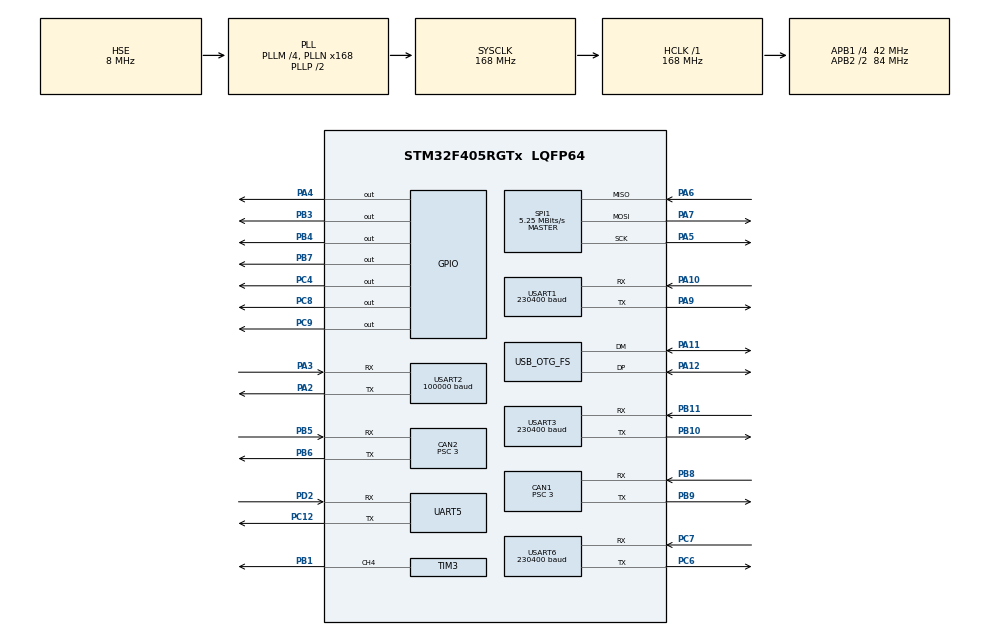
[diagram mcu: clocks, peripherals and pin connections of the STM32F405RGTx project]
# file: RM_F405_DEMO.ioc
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CAN1.AWUM=ENABLE
CAN1.BS1=CAN_BS1_9TQ
CAN1.BS2=CAN_BS2_4TQ
CAN1.CalculateBaudRate=1000000
CAN1.CalculateTimeBit=1000
CAN1.CalculateTimeQuantum=71.42857142857143
CAN1.NART=ENABLE
CAN1.Prescaler=3
CAN1.TTCM=DISABLE
CAN1.TXFP=ENABLE
CAN2.AWUM=ENABLE
CAN2.BS1=CAN_BS1_9TQ
CAN2.BS2=CAN_BS2_4TQ
CAN2.CalculateBaudRate=1000000
CAN2.CalculateTimeBit=1000
CAN2.CalculateTimeQuantum=71.42857142857143
CAN2.NART=ENABLE
CAN2.Prescaler=3
CAN2.TTCM=DISABLE
CAN2.TXFP=ENABLE
Dma.Request0=UART5_RX
Dma.Request1=UART5_TX
Dma.Request2=USART2_RX
Dma.Request3=USART6_RX
Dma.Request4=USART6_TX
Dma.Request5=USART1_RX
Dma.Request6=USART1_TX
Dma.UART5_RX.0.Direction=DMA_PERIPH_TO_MEMORY
Dma.UART5_RX.0.FIFOMode=DMA_FIFOMODE_DISABLE
Dma.UART5_RX.0.Instance=DMA1_Stream0
Dma.UART5_RX.0.MemDataAlignment=DMA_MDATAALIGN_BYTE
Dma.UART5_RX.0.MemInc=DMA_MINC_ENABLE
Dma.UART5_RX.0.Mode=DMA_NORMAL
Dma.UART5_RX.0.PeriphDataAlignment=DMA_PDATAALIGN_BYTE
Dma.UART5_RX.0.PeriphInc=DMA_PINC_DISABLE
Dma.UART5_RX.0.Priority=DMA_PRIORITY_HIGH
Dma.UART5_TX.1.Direction=DMA_MEMORY_TO_PERIPH
Dma.UART5_TX.1.FIFOMode=DMA_FIFOMODE_DISABLE
Dma.UART5_TX.1.Instance=DMA1_Stream7
Dma.UART5_TX.1.MemDataAlignment=DMA_MDATAALIGN_BYTE
Dma.UART5_TX.1.MemInc=DMA_MINC_ENABLE
Dma.UART5_TX.1.Mode=DMA_NORMAL
Dma.UART5_TX.1.PeriphDataAlignment=DMA_PDATAALIGN_BYTE
Dma.UART5_TX.1.PeriphInc=DMA_PINC_DISABLE
Dma.UART5_TX.1.Priority=DMA_PRIORITY_HIGH
Dma.USART1_RX.5.Direction=DMA_PERIPH_TO_MEMORY
Dma.USART1_RX.5.FIFOMode=DMA_FIFOMODE_DISABLE
Dma.USART1_RX.5.Instance=DMA2_Stream2
Dma.USART1_RX.5.MemDataAlignment=DMA_MDATAALIGN_BYTE
Dma.USART1_RX.5.MemInc=DMA_MINC_ENABLE
Dma.USART1_RX.5.Mode=DMA_NORMAL
Dma.USART1_RX.5.PeriphDataAlignment=DMA_PDATAALIGN_BYTE
Dma.USART1_RX.5.PeriphInc=DMA_PINC_DISABLE
Dma.USART1_RX.5.Priority=DMA_PRIORITY_HIGH
Dma.USART1_TX.6.Direction=DMA_MEMORY_TO_PERIPH
Dma.USART1_TX.6.FIFOMode=DMA_FIFOMODE_DISABLE
Dma.USART1_TX.6.Instance=DMA2_Stream7
Dma.USART1_TX.6.MemDataAlignment=DMA_MDATAALIGN_BYTE
Dma.USART1_TX.6.MemInc=DMA_MINC_ENABLE
Dma.USART1_TX.6.Mode=DMA_NORMAL
Dma.USART1_TX.6.PeriphDataAlignment=DMA_PDATAALIGN_BYTE
Dma.USART1_TX.6.PeriphInc=DMA_PINC_DISABLE
Dma.USART1_TX.6.Priority=DMA_PRIORITY_HIGH
Dma.USART2_RX.2.Direction=DMA_PERIPH_TO_MEMORY
Dma.USART2_RX.2.FIFOMode=DMA_FIFOMODE_DISABLE
Dma.USART2_RX.2.Instance=DMA1_Stream5
Dma.USART2_RX.2.MemDataAlignment=DMA_MDATAALIGN_BYTE
Dma.USART2_RX.2.MemInc=DMA_MINC_ENABLE
Dma.USART2_RX.2.Mode=DMA_NORMAL
Dma.USART2_RX.2.PeriphDataAlignment=DMA_PDATAALIGN_BYTE
Dma.USART2_RX.2.PeriphInc=DMA_PINC_DISABLE
Dma.USART2_RX.2.Priority=DMA_PRIORITY_HIGH
Dma.USART6_RX.3.Direction=DMA_PERIPH_TO_MEMORY
Dma.USART6_RX.3.FIFOMode=DMA_FIFOMODE_DISABLE
Dma.USART6_RX.3.Instance=DMA2_Stream1
Dma.USART6_RX.3.MemDataAlignment=DMA_MDATAALIGN_BYTE
Dma.USART6_RX.3.MemInc=DMA_MINC_ENABLE
Dma.USART6_RX.3.Mode=DMA_NORMAL
Dma.USART6_RX.3.PeriphDataAlignment=DMA_PDATAALIGN_BYTE
Dma.USART6_RX.3.PeriphInc=DMA_PINC_DISABLE
Dma.USART6_RX.3.Priority=DMA_PRIORITY_LOW
Dma.USART6_TX.4.Direction=DMA_MEMORY_TO_PERIPH
Dma.USART6_TX.4.FIFOMode=DMA_FIFOMODE_DISABLE
Dma.USART6_TX.4.Instance=DMA2_Stream6
Dma.USART6_TX.4.MemDataAlignment=DMA_MDATAALIGN_BYTE
Dma.USART6_TX.4.MemInc=DMA_MINC_ENABLE
Dma.USART6_TX.4.Mode=DMA_NORMAL
Dma.USART6_TX.4.PeriphDataAlignment=DMA_PDATAALIGN_BYTE
Dma.USART6_TX.4.PeriphInc=DMA_PINC_DISABLE
Dma.USART6_TX.4.Priority=DMA_PRIORITY_LOW
FREERTOS.Tasks01=defaultTask,24,128,StartDefaultTask,Default,NULL,Dynamic,NULL,NULL;INSTask,8,1024,StartINSTask,As weak,NULL,Dynamic,NULL,NULL;MotorTask,8,256,StartMotorTask,As weak,NULL,Dynamic,NULL,NULL;RobotTask,8,1024,StartRobotTask,As weak,NULL,Dynamic,NULL,NULL;VOFATask,8,512,StartVOFATask,Default,NULL,Dynamic,NULL,NULL
Mcu.Family=STM32F4
Mcu.Name=STM32F405RGTx
Mcu.Package=LQFP64
NVIC.CAN1_RX0_IRQn=true\:5\:0\:false\:false\:true\:true\:true\:true\:true
NVIC.CAN1_RX1_IRQn=true\:5\:0\:false\:false\:true\:true\:true\:true\:true
NVIC.CAN2_RX0_IRQn=true\:5\:0\:false\:false\:true\:true\:true\:true\:true
NVIC.CAN2_RX1_IRQn=true\:5\:0\:false\:false\:true\:true\:true\:true\:true
NVIC.DMA1_Stream0_IRQn=true\:5\:0\:false\:false\:true\:true\:false\:true\:true
NVIC.DMA1_Stream5_IRQn=true\:5\:0\:false\:false\:true\:true\:false\:true\:true
NVIC.DMA1_Stream7_IRQn=true\:5\:0\:false\:false\:true\:true\:false\:true\:true
NVIC.DMA2_Stream1_IRQn=true\:5\:0\:false\:false\:true\:true\:false\:true\:true
NVIC.DMA2_Stream2_IRQn=true\:5\:0\:false\:false\:true\:true\:false\:true\:true
NVIC.DMA2_Stream6_IRQn=true\:5\:0\:false\:false\:true\:true\:false\:true\:true
NVIC.DMA2_Stream7_IRQn=true\:5\:0\:false\:false\:true\:true\:false\:true\:true
NVIC.OTG_FS_IRQn=true\:5\:0\:false\:false\:true\:true\:false\:true\:true
NVIC.PriorityGroup=NVIC_PRIORITYGROUP_4
NVIC.TIM6_DAC_IRQn=true\:15\:0\:false\:false\:true\:false\:false\:true\:true
NVIC.TimeBase=TIM6_DAC_IRQn
NVIC.TimeBaseIP=TIM6
NVIC.UART5_IRQn=true\:5\:0\:false\:false\:true\:true\:true\:true\:true
NVIC.USART1_IRQn=true\:5\:0\:false\:false\:true\:true\:true\:true\:true
NVIC.USART2_IRQn=true\:5\:0\:false\:false\:true\:true\:true\:true\:true
NVIC.USART3_IRQn=true\:5\:0\:false\:false\:true\:true\:true\:true\:true
NVIC.USART6_IRQn=true\:5\:0\:false\:false\:true\:true\:true\:true\:true
PA10.Mode=Asynchronous
PA10.Signal=USART1_RX
PA11.Mode=Device_Only
PA11.Signal=USB_OTG_FS_DM
PA12.Mode=Device_Only
PA12.Signal=USB_OTG_FS_DP
PA13.Mode=Serial_Wire
PA13.Signal=SYS_JTMS-SWDIO
PA14.Mode=Serial_Wire
PA14.Signal=SYS_JTCK-SWCLK
PA2.Mode=Asynchronous
PA2.Signal=USART2_TX
PA3.Mode=Asynchronous
PA3.Signal=USART2_RX
PA4.GPIO_Speed=GPIO_SPEED_FREQ_VERY_HIGH
PA4.PinState=GPIO_PIN_SET
PA4.Signal=GPIO_Output
PA5.Mode=Full_Duplex_Master
PA5.Signal=SPI1_SCK
PA6.Mode=Full_Duplex_Master
PA6.Signal=SPI1_MISO
PA7.Mode=Full_Duplex_Master
PA7.Signal=SPI1_MOSI
PA9.Mode=Asynchronous
PA9.Signal=USART1_TX
PB1.Signal=S_TIM3_CH4
PB10.Mode=Asynchronous
PB10.Signal=USART3_TX
PB11.Mode=Asynchronous
PB11.Signal=USART3_RX
PB3.GPIO_Speed=GPIO_SPEED_FREQ_MEDIUM
PB3.Signal=GPIO_Output
PB4.GPIO_Speed=GPIO_SPEED_FREQ_MEDIUM
PB4.Signal=GPIO_Output
PB5.Mode=CAN_Activate
PB5.Signal=CAN2_RX
PB6.Mode=CAN_Activate
PB6.Signal=CAN2_TX
PB7.GPIO_Speed=GPIO_SPEED_FREQ_MEDIUM
PB7.Signal=GPIO_Output
PB8.Mode=CAN_Activate
PB8.Signal=CAN1_RX
PB9.Mode=CAN_Activate
PB9.Signal=CAN1_TX
PC12.Mode=Asynchronous
PC12.Signal=UART5_TX
PC14-OSC32_IN.Mode=LSE-External-Oscillator
PC14-OSC32_IN.Signal=RCC_OSC32_IN
PC15-OSC32_OUT.Mode=LSE-External-Oscillator
PC15-OSC32_OUT.Signal=RCC_OSC32_OUT
PC4.GPIO_Speed=GPIO_SPEED_FREQ_VERY_HIGH
PC4.PinState=GPIO_PIN_SET
PC4.Signal=GPIO_Output
PC6.Mode=Asynchronous
PC6.Signal=USART6_TX
PC7.Mode=Asynchronous
PC7.Signal=USART6_RX
PC8.GPIO_Speed=GPIO_SPEED_FREQ_MEDIUM
PC8.PinState=GPIO_PIN_SET
PC8.Signal=GPIO_Output
PC9.GPIO_Speed=GPIO_SPEED_FREQ_MEDIUM
PC9.PinState=GPIO_PIN_SET
PC9.Signal=GPIO_Output
PD2.Mode=Asynchronous
PD2.Signal=UART5_RX
PH0-OSC_IN.Mode=HSE-External-Oscillator
PH0-OSC_IN.Signal=RCC_OSC_IN
PH1-OSC_OUT.Mode=HSE-External-Oscillator
PH1-OSC_OUT.Signal=RCC_OSC_OUT
ProjectManager.HeapSize=0x4000
ProjectManager.StackSize=0x2100
ProjectManager.TargetToolchain=MDK-ARM V5.32
RCC.48MHZClocksFreq_Value=48000000
RCC.AHBFreq_Value=168000000
RCC.APB1CLKDivider=RCC_HCLK_DIV4
RCC.APB1Freq_Value=42000000
RCC.APB1TimFreq_Value=84000000
RCC.APB2CLKDivider=RCC_HCLK_DIV2
RCC.APB2Freq_Value=84000000
RCC.APB2TimFreq_Value=168000000
RCC.CortexFreq_Value=168000000
RCC.HCLKFreq_Value=168000000
RCC.HSE_VALUE=8000000
RCC.HSI_VALUE=16000000
RCC.PLLM=4
RCC.PLLN=168
RCC.PLLQ=7
RCC.SYSCLKFreq_VALUE=168000000
RCC.SYSCLKSource=RCC_SYSCLKSOURCE_PLLCLK
RCC.VCOOutputFreq_Value=336000000
SH.S_TIM3_CH4.0=TIM3_CH4,PWM Generation4 CH4
SPI1.BaudRatePrescaler=SPI_BAUDRATEPRESCALER_16
SPI1.CalculateBaudRate=5.25 MBits/s
SPI1.Direction=SPI_DIRECTION_2LINES
SPI1.Mode=SPI_MODE_MASTER
SPI1.VirtualType=VM_MASTER
STMicroelectronics.X-CUBE-ALGOBUILD.1.5.0.LibraryCcDSPOoLibraryJjDSPOoLibrary=true
TIM3.Channel-PWM\ Generation4\ CH4=TIM_CHANNEL_4
TIM3.Period=4999
UART5.VirtualMode=Asynchronous
USART1.BaudRate=230400
USART1.VirtualMode=VM_ASYNC
USART2.BaudRate=100000
USART2.VirtualMode=VM_ASYNC
USART2.WordLength=WORDLENGTH_9B
USART3.BaudRate=230400
USART3.VirtualMode=VM_ASYNC
USART6.BaudRate=230400
USART6.VirtualMode=VM_ASYNC
USB_DEVICE.CLASS_NAME_FS=CDC
USB_DEVICE.VirtualMode-CDC_FS=Cdc
USB_DEVICE.VirtualModeFS=Cdc_FS
USB_OTG_FS.VirtualMode=Device_Only
VP_CRC_VS_CRC.Mode=CRC_Activate
VP_FREERTOS_VS_CMSIS_V2.Mode=CMSIS_V2
VP_RNG_VS_RNG.Mode=RNG_Activate
VP_STMicroelectronics.X-CUBE-ALGOBUILD_VS_DSPOoLibraryJjLibrary_1.5.0_1.5.0.Mode=DSPOoLibraryJjLibrary
VP_SYS_VS_tim6.Mode=TIM6
VP_TIM3_VS_ClockSourceINT.Mode=Internal
VP_USB_DEVICE_VS_USB_DEVICE_CDC_FS.Mode=CDC_FS
board=custom

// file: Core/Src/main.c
/* USER CODE BEGIN Header */
/**
  ******************************************************************************
  * @file           : main.c
  * @brief          : Main program body
  ******************************************************************************
  * @attention
  *
  * Copyright (c) 2026 STMicroelectronics.
  * All rights reserved.
  *
  * This software is licensed under terms that can be found in the LICENSE file
  * in the root directory of this software component.
  * If no LICENSE file comes with this software, it is provided AS-IS.
  *
  ******************************************************************************
  */
/* USER CODE END Header */
#include "main.h"
#include "cmsis_os.h"
#include "can.h"
#include "crc.h"
#include "dma.h"
#include "rng.h"
#include "spi.h"
#include "tim.h"
#include "usart.h"
#include "usb_device.h"
#include "gpio.h"

/* USER CODE BEGIN Includes */
#include "robot.h"
/* USER CODE END Includes */

void SystemClock_Config(void);
void MX_FREERTOS_Init(void);

int main(void)
{

  /* MCU Configuration--------------------------------------------------------*/

  /* Reset of all peripherals, Initializes the Flash interface and the Systick. */
  HAL_Init();

  /* Configure the system clock */
  SystemClock_Config();

  /* Initialize all configured peripherals */
  MX_GPIO_Init();
  MX_DMA_Init();
  MX_CAN1_Init();
  MX_CAN2_Init();
  MX_SPI1_Init();
  MX_TIM3_Init();
  MX_UART5_Init();
  MX_USART2_UART_Init();
  MX_USART3_UART_Init();
  MX_USART6_UART_Init();
  MX_RNG_Init();
  MX_USART1_UART_Init();
  MX_CRC_Init();
  /* USER CODE BEGIN 2 */
	RobotInit();
  /* USER CODE END 2 */

  /* Init scheduler */
  osKernelInitialize();  /* Call init function for freertos objects (in cmsis_os2.c) */
  MX_FREERTOS_Init();

  /* Start scheduler */
  osKernelStart();

  /* We should never get here as control is now taken by the scheduler */

  /* Infinite loop */
  while (1)
  {

  }
}

void SystemClock_Config(void)
{
  RCC_OscInitTypeDef RCC_OscInitStruct = {0};
  RCC_ClkInitTypeDef RCC_ClkInitStruct = {0};

  /** Configure the main internal regulator output voltage
  */
  __HAL_RCC_PWR_CLK_ENABLE();
  __HAL_PWR_VOLTAGESCALING_CONFIG(PWR_REGULATOR_VOLTAGE_SCALE1);

  /** Initializes the RCC Oscillators according to the specified parameters
  * in the RCC_OscInitTypeDef structure.
  */
  RCC_OscInitStruct.OscillatorType = RCC_OSCILLATORTYPE_HSE;
  RCC_OscInitStruct.HSEState = RCC_HSE_ON;
  RCC_OscInitStruct.PLL.PLLState = RCC_PLL_ON;
  RCC_OscInitStruct.PLL.PLLSource = RCC_PLLSOURCE_HSE;
  RCC_OscInitStruct.PLL.PLLM = 4;
  RCC_OscInitStruct.PLL.PLLN = 168;
  RCC_OscInitStruct.PLL.PLLP = RCC_PLLP_DIV2;
  RCC_OscInitStruct.PLL.PLLQ = 7;
  if (HAL_RCC_OscConfig(&RCC_OscInitStruct) != HAL_OK)
  {
    Error_Handler();
  }

  /** Initializes the CPU, AHB and APB buses clocks
  */
  RCC_ClkInitStruct.ClockType = RCC_CLOCKTYPE_HCLK|RCC_CLOCKTYPE_SYSCLK
                              |RCC_CLOCKTYPE_PCLK1|RCC_CLOCKTYPE_PCLK2;
  RCC_ClkInitStruct.SYSCLKSource = RCC_SYSCLKSOURCE_PLLCLK;
  RCC_ClkInitStruct.AHBCLKDivider = RCC_SYSCLK_DIV1;
  RCC_ClkInitStruct.APB1CLKDivider = RCC_HCLK_DIV4;
  RCC_ClkInitStruct.APB2CLKDivider = RCC_HCLK_DIV2;

  if (HAL_RCC_ClockConfig(&RCC_ClkInitStruct, FLASH_LATENCY_5) != HAL_OK)
  {
    Error_Handler();
  }
}

void HAL_TIM_PeriodElapsedCallback(TIM_HandleTypeDef *htim)
{
  if (htim->Instance == TIM6)
  {
    HAL_IncTick();
  }
}

void Error_Handler(void)
{
  __disable_irq();
  while (1)
  {
  }
}

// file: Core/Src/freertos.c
/* USER CODE BEGIN Header */
/**
  ******************************************************************************
  * File Name          : freertos.c
  * Description        : Code for freertos applications
  ******************************************************************************
  * @attention
  *
  * Copyright (c) 2026 STMicroelectronics.
  * All rights reserved.
  *
  * This software is licensed under terms that can be found in the LICENSE file
  * in the root directory of this software component.
  * If no LICENSE file comes with this software, it is provided AS-IS.
  *
  ******************************************************************************
  */
/* USER CODE END Header */

#include "FreeRTOS.h"
#include "task.h"
#include "main.h"
#include "cmsis_os.h"

/* USER CODE BEGIN Includes */
#include "robot.h"
#include "ins_task.h"
#include "motor_task.h"
#include "usart.h"
#include "DJImotor.h"
#include "stdio.h"
#include "robot_def.h"
extern DJIMotorInstance *friction_l, *friction_r, *loader; // 拨盘电机
extern float chassis_vx, chassis_vy,chassis_vw;   // 底盘目标速度
#ifdef CHASSIS_BOARD
extern Navi_Recv_s *navi_recv;
#endif
/* USER CODE END Includes */

/* USER CODE BEGIN Variables */
/* NOTE: the 1kHz motor task (StartMotorControlTask, implemented in
   MODULES/motor/motor_task.c) is created by the CubeMX generated "mymotor"
   thread below. Do NOT create it a second time here, otherwise
   DJIMotorControl()/CANTransmit() would run at 2kHz on the same CAN bus. */
/* USER CODE END Variables */
/* Definitions for defaultTask */
osThreadId_t defaultTaskHandle;
const osThreadAttr_t defaultTask_attributes = {
  .name = "defaultTask",
  .stack_size = 128 * 4,
  .priority = (osPriority_t) osPriorityNormal,
};
/* Definitions for INSTask */
osThreadId_t INSTaskHandle;
const osThreadAttr_t INSTask_attributes = {
  .name = "INSTask",
  .stack_size = 1024 * 4,
  .priority = (osPriority_t) osPriorityLow,
};
/* Definitions for MotorTask */
osThreadId_t MotorTaskHandle;
const osThreadAttr_t MotorTask_attributes = {
  .name = "MotorTask",
  .stack_size = 256 * 4,
  .priority = (osPriority_t) osPriorityLow,
};
/* Definitions for RobotTask */
osThreadId_t RobotTaskHandle;
const osThreadAttr_t RobotTask_attributes = {
  .name = "RobotTask",
  .stack_size = 1024 * 4,
  .priority = (osPriority_t) osPriorityLow,
};
/* Definitions for VOFATask */
osThreadId_t VOFATaskHandle;
const osThreadAttr_t VOFATask_attributes = {
  .name = "VOFATask",
  .stack_size = 512 * 4,
  .priority = (osPriority_t) osPriorityLow,
};

void StartDefaultTask(void *argument);
void StartINSTask(void *argument);
void StartMotorTask(void *argument);
void StartRobotTask(void *argument);
void StartVOFATask(void *argument);

extern void MX_USB_DEVICE_Init(void);
void MX_FREERTOS_Init(void); /* (MISRA C 2004 rule 8.1) */

void MX_FREERTOS_Init(void) {

  /* Create the thread(s) */
  /* creation of defaultTask */
  defaultTaskHandle = osThreadNew(StartDefaultTask, NULL, &defaultTask_attributes);

  /* creation of INSTask */
  INSTaskHandle = osThreadNew(StartINSTask, NULL, &INSTask_attributes);

  /* creation of MotorTask */
  MotorTaskHandle = osThreadNew(StartMotorTask, NULL, &MotorTask_attributes);

  /* creation of RobotTask */
  RobotTaskHandle = osThreadNew(StartRobotTask, NULL, &RobotTask_attributes);

  /* creation of VOFATask */
  VOFATaskHandle = osThreadNew(StartVOFATask, NULL, &VOFATask_attributes);

}

void StartDefaultTask(void *argument)
{
  /* init code for USB_DEVICE */
  MX_USB_DEVICE_Init();
  for(;;)
  {
    osDelay(1);
  }
}

__weak void StartINSTask(void *argument)
{
  for(;;)
  {
    osDelay(1);
  }
}

__weak void StartMotorTask(void *argument)
{
  for(;;)
  {
    osDelay(1);
  }
}

__weak void StartRobotTask(void *argument)
{
  for(;;)
  {
    osDelay(1);
  }
}

void StartVOFATask(void *argument)
{
  /* USER CODE BEGIN StartVOFATask */
  /* Infinite loop */
  for(;;)
  {
//		static char ch[120];
//		sprintf(ch,"%.1f,%.1f,%.1f,%.1f\r\n",
//           loader->motor_controller.angle_PID.Ref,
//           loader->measure.total_angle,
//					 loader->motor_controller.speed_PID.Ref,
//					 loader->measure.speed_aps);
//		HAL_UART_Transmit(&huart5,(uint8_t*)ch,strlen(ch),0xff);
		#ifdef CHASSIS_BOARD

		static char buff[130];
//	sprintf(buff,"%f,%f\r\n",motor_lf->measure.speed_aps,motor_lf->motor_controller.speed_PID.Ref);
		sprintf(buff,"%.1f,%.1f,%.1f,%.1f,%.1f,%.1f\r\n",navi_recv->V_X,navi_recv->V_Y,navi_recv->V_Z,chassis_vx,chassis_vy,chassis_vw);
		HAL_UART_Transmit(&huart5,(uint8_t *)buff,strlen(buff),0xff);
    osDelay(1);
		#endif
  }
  /* USER CODE END StartVOFATask */
}
